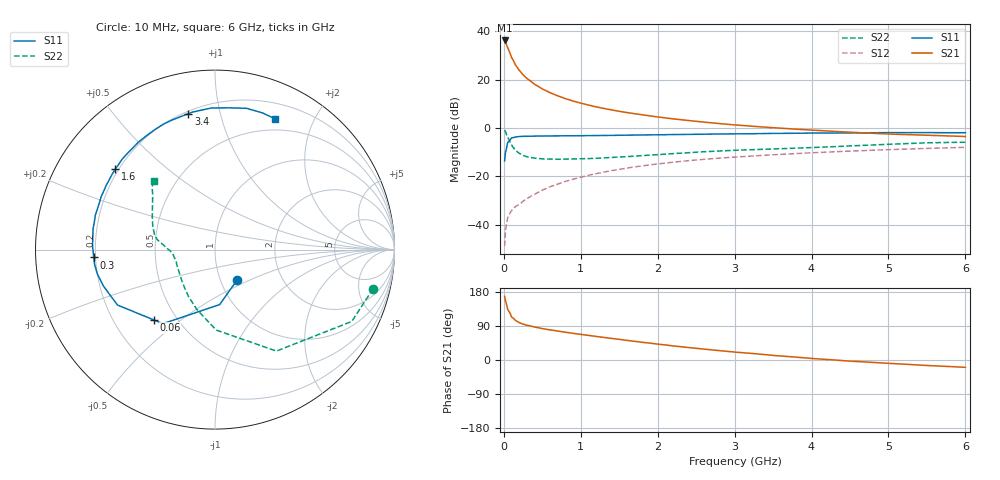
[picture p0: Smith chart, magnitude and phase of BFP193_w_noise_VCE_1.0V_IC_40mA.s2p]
! (c) 2017  Infineon Technologies AG, Munich
! Infineon Technologies  Discrete & RF Semiconductors
! BFP193
! VCE =  1.0 V,  IC =  40 mA
! Common Emitter S-Parameters:  Jan 2017
# GHz  S  MA  R  50
!  f  S11  S21  S12  S22
! GHz  MAG  ANG  MAG  ANG  MAG  ANG  MAG  ANG
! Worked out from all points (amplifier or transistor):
!   77 points, 10 MHz to 6 GHz, reference 50 ohm
!   highest |S21| = 36.3 dB at 10 MHz (marker M1)
!   |S21| within 3 dB of that: start of sweep to 50.41 MHz
!   unconditionally stable (mu >= 1): 474.7 MHz to 2.771 GHz
!   at 130 MHz: K = 0.61, MSG = 30.3 dB, |S12| = -33.1 dB
!   at 2.2 GHz: K = 1.02, MAG = 8.0 dB, |S12| = -14.1 dB
!   at 6 GHz: K = 0.97, MSG = 2.2 dB, |S12| = -8.0 dB
!   lowest NFmin = 1.38 dB at 450 MHz
!   S11 on the Smith chart (normalised r, x): 10 MHz: 1.20, -0.43; 60 MHz: 0.37, -0.40; 300 MHz: 0.19, -0.03; 1.6 GHz: 0.19, +0.34; 3.4 GHz: 0.21, +0.80; 6 GHz: 0.37, +1.50
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0.01  0.2098 -54.3  65.11 168.1  0.0036 79.0  0.9074 -13.9
0.02  0.3077 -85.2  62.42 157.2  0.007 75.4  0.8608 -27.7
0.05  0.5044 -125.1  46.25 133.0  0.0139 56.8  0.661 -58.8
0.06  0.5193 -131.0  42.55 130.4  0.015 55.9  0.6079 -63.1
0.1  0.625 -150.4  29.15 113.6  0.0196 53.2  0.4483 -89.1
0.15  0.6538 -161.9  20.5 104.5  0.0237 52.8  0.3485 -106.9
0.2  0.6692 -168.2  15.71 98.8  0.0263 55.7  0.3 -119.5
0.25  0.676 -172.9  12.69 94.6  0.0306 57.4  0.2721 -128.4
0.3  0.677 -176.3  10.64 91.7  0.0348 60.1  0.2552 -135.9
0.4  0.6826 178.3  8.06 86.8  0.0426 62.8  0.2387 -145.9
0.5  0.6845 174.0  6.463 82.9  0.052 64.1  0.2311 -153.0
0.6  0.6892 170.3  5.415 79.4  0.061 64.5  0.2288 -158.4
0.7  0.6894 167.2  4.647 76.5  0.0693 65.6  0.2263 -162.4
0.8  0.6939 163.9  4.079 73.2  0.079 65.7  0.2277 -165.5
1.1  0.6997 154.9  2.994 65.0  0.1055 63.3  0.2341 -172.3
1.6  0.7141 141.1  2.098 51.8  0.1487 57.4  0.2566 -179.7
2.1  0.7302 128.0  1.626 39.7  0.1887 50.7  0.2892 174.8
3.1  0.7621 106.6  1.133 19.3  0.2567 37.2  0.3516 164.6
3.4  0.7717 101.1  1.045 14.1  0.2745 33.5  0.3652 160.7
4.1  0.7892 89.9  0.891 2.8  0.3132 24.9  0.401 150.6
5.1  0.8056 76.1  0.745 -9.9  0.3622 13.3  0.4688 137.9
6  0.8019 65.2  0.67 -19.3  0.3994 3.3  0.5108 131.5
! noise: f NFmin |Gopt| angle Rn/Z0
0.45  1.38  0.38  -172  0.08
0.9  1.43  0.41  -167  0.08
1.9  2.05  0.59  -135  0.2
2.4  2.37  0.63  -120  0.42
